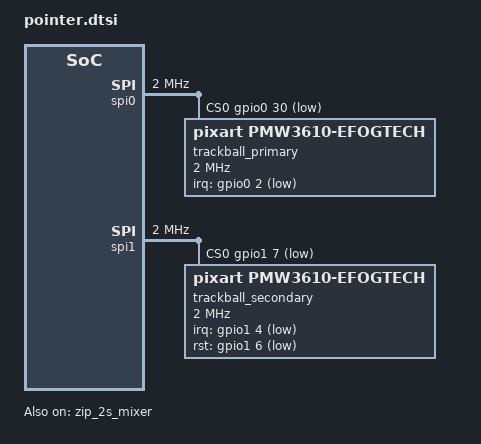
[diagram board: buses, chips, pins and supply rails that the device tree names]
#include <dt-bindings/zmk/pointing.h>
#include <dt-bindings/zmk/p2sm.h>
#include <dt-bindings/zmk/bistable_behavior.h>
#include <input/processors/p2sm.dtsi>
#include <input/processors/axis_clamper.dtsi>
#include <input/processors/report_rate_limit.dtsi>
#include <input/processors/accel_curve.dtsi>
#include <input/processors/rotate_plane.dtsi>
#include <behaviors/rate_limit.dtsi>
#include <behaviors/auto_hold.dtsi>
#include <behaviors/switch_keymap.dtsi>
#include <behaviors/mouse_scroll.dtsi>
#include <behaviors/mouse_key_press.dtsi>
#include <behaviors/af_toggle.dtsi>
#include <behaviors/bistable_toggle.dtsi>
#include <behaviors/ble_shell_adv.dtsi>

&zip_2s_mixer {
	status = "okay";
	sync-report-ms = <1>;
	sync-scroll-report-ms = <8>;

	// arbitrary bounding box (0, 0, 0) - (255, 255, 255)
	ball-radius = <102>; // maximum = 127, center is at (127, 127, 127)
	sensor1-pos = [31 4B 2D];  // X Y Z
	sensor2-pos = [C1 3C 2D];

	feedback-gpios = <&gpio0 24 GPIO_ACTIVE_HIGH>;
	feedback-extra-gpios = <&gpio1 0 GPIO_ACTIVE_HIGH>;
	twist-feedback-delay = <5>;
};

/ {
	zip_dragscroll_accel: zip_dragscroll_accel {
		compatible = "zmk,accel-curve";
		#input-processor-cells = <0>;
		max-curves = <4>;
		points = <16>;
		device-name = "dragscroll";
		event-codes = <INPUT_REL_WHEEL INPUT_REL_HWHEEL>;
	};

	zip_bistable_snipe_scaler: zip_bistable_snipe_scaler {
		compatible = "zmk,input-processor-bistable-scaler";
		#input-processor-cells = <0>;
		type = <INPUT_EV_REL>;
		codes = <INPUT_REL_X INPUT_REL_Y>;
		track-remainders;
		default-coef = <ZBS_SCALE(1, 4)>;
		slot0 = <ZBS_RUNTIME>;
		slot1 = <ZBS_RUNTIME>;
		zrc-prefix = "bst/snipe";
	};

	zip_bistable_twist_scaler: zip_bistable_twist_scaler {
		compatible = "zmk,input-processor-bistable-scaler";
		#input-processor-cells = <0>;
		type = <INPUT_EV_REL>;
		codes = <INPUT_REL_WHEEL INPUT_REL_HWHEEL>;
		track-remainders;
		default-coef = <ZBS_SCALE(1, 10)>;
		slot0 = <ZBS_RUNTIME>;
		slot1 = <ZBS_RUNTIME>;
		zrc-prefix = "bst/twist";
	};

	zip_bistable_scroll_xy_scaler: zip_bistable_scroll_xy_scaler {
		compatible = "zmk,input-processor-bistable-scaler";
		#input-processor-cells = <0>;
		type = <INPUT_EV_REL>;
		codes = <INPUT_REL_X INPUT_REL_Y>;
		track-remainders;
		default-coef = <ZBS_SCALE(1, 3)>;
		slot0 = <ZBS_RUNTIME>;
		slot1 = <ZBS_RUNTIME>;
		zrc-prefix = "bst/dragscroll";
	};

	trackball {
		compatible = "zmk,input-listener";
		device = <&zip_2s_mixer>;
		input-processors = <&esb_ip>, <&zip_ble_report_rate_limit>;
	};

	rotated_pointer_plane {
		compatible = "zmk,input-listener";
		device = <&zip_rotate_pointer>;
		input-processors = <&esb_ip>, <&zip_ble_report_rate_limit>;
	};

	rotated_scroll_plane {
		compatible = "zmk,input-listener";
		device = <&zip_rotate_scroll>;
		input-processors = <&esb_ip>, <&zip_ble_report_rate_limit>;
	};

	trackball_primary_listener: trackball_primary_listener {
		compatible = "zmk,input-listener";
		device = <&trackball_primary>;
		input-processors = <&zip_2s_mixer INPUT_MIXER_SENSOR1>;
	};

	trackball_secondary_listener: trackball_secondary_listener {
		compatible = "zmk,input-listener";
		device = <&trackball_secondary>;
		input-processors = <&zip_2s_mixer INPUT_MIXER_SENSOR2>;
	};

	behaviors {
		bst_tog {
			display-name = "Toggle OS-dependent behaviors";
		};

		mouse_scroll {
			display-name = "Reserved [3]";
		};

		mouse_move {
			display-name = "Reserved [4]";
		};

		zbs_adv {
			display-name = "Advertise MUI over Bluetooth";
		};
	};
};

&msc {
	time-to-max-speed-ms = <1>;
	acceleration-exponent = <0>;
};

&mkp_input_listener { input-processors = <&esb_ip>; };
&msc_input_listener { input-processors = <&esb_ip>; };

&spi0 {
	status = "okay";
	compatible = "nordic,nrf-spim";
	pinctrl-0 = <&spi0_default>;
	pinctrl-1 = <&spi0_sleep>;
	pinctrl-names = "default", "sleep";
	cs-gpios = <&gpio0 30 GPIO_ACTIVE_LOW>;
	clock-frequency = <2000000>;

	trackball_primary: trackball_primary@0 {
		status = "okay";
		compatible = "pixart,pmw3610-efogtech";
		init-retry-interval = <25>;
		init-retry-count = <10>;
		reg = <0>;
		spi-max-frequency = <2000000>;
		irq-gpios = <&gpio0 2 GPIO_ACTIVE_LOW>;
		cpi = <3200>;
		evt-type = <INPUT_EV_REL>;
		x-input-code = <INPUT_REL_X>;
		y-input-code = <INPUT_REL_Y>;

		wakeup-source;
		force-awake;
		force-high-performance;
		xy-swap;
		x-invert;
		y-invert;
	};
};

&spi1 {
	status = "okay";
	compatible = "nordic,nrf-spim";
	pinctrl-0 = <&spi1_default>;
	pinctrl-1 = <&spi1_sleep>;
	pinctrl-names = "default", "sleep";
	cs-gpios = <&gpio1 7 GPIO_ACTIVE_LOW>;
	clock-frequency = <2000000>;

	trackball_secondary: trackball_secondary@0 {
		status = "okay";
		compatible = "pixart,pmw3610-efogtech";
		init-retry-interval = <25>;
		init-retry-count = <10>;
		reg = <0>;
		spi-max-frequency = <2000000>;
		irq-gpios = <&gpio1 4 GPIO_ACTIVE_LOW>;
		rst-gpios = <&gpio1 6 GPIO_ACTIVE_LOW>;
		cpi = <3200>;
		evt-type = <INPUT_EV_REL>;
		x-input-code = <INPUT_REL_X>;
		y-input-code = <INPUT_REL_Y>;

		force-awake;
		force-high-performance;
		xy-swap;
	};
};
